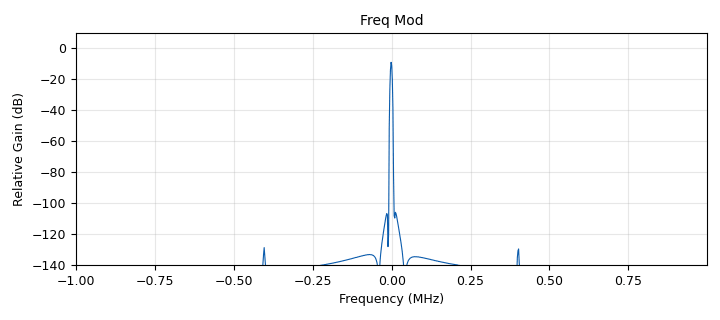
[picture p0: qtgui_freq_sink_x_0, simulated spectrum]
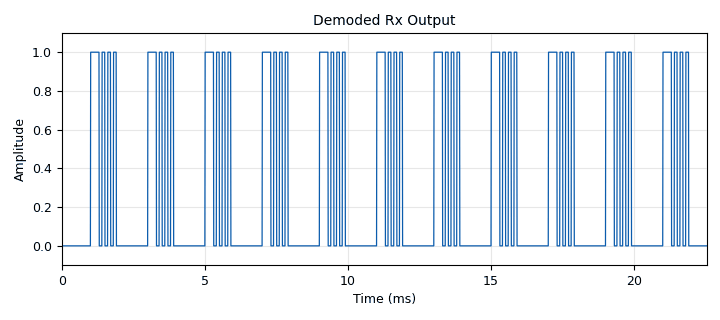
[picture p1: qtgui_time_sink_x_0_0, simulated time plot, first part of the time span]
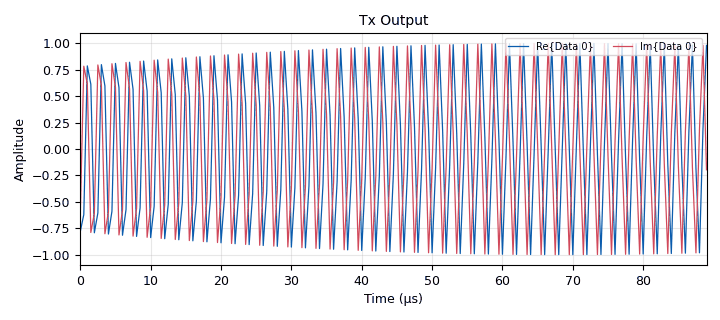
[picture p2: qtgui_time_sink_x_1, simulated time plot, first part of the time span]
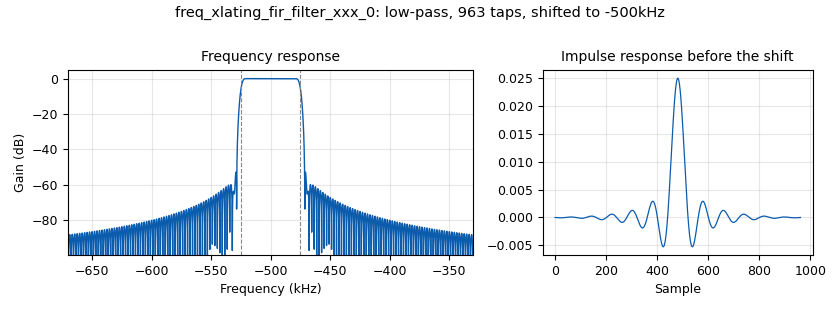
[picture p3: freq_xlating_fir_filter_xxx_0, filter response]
<?xml version='1.0' encoding='utf-8'?>
<?grc format='1' created='3.7.13'?>
<flow_graph>
<block>
<key>options</key>
<param><key>id</key><value>top_block</value></param>
<param><key>category</key><value>Custom</value></param>
<param><key>generate_options</key><value>qt_gui</value></param>
</block>
<block>
<key>variable</key>
<param><key>id</key><value>center_freq</value></param>
<param><key>value</key><value>901.5e6</value></param>
</block>
<block>
<key>variable</key>
<param><key>id</key><value>chan_width</value></param>
<param><key>value</key><value>50e3</value></param>
</block>
<block>
<key>variable_qtgui_entry</key>
<param><key>id</key><value>freq</value></param>
<param><key>value</key><value>901e6</value></param>
<param><key>type</key><value>real</value></param>
</block>
<block>
<key>variable</key>
<param><key>id</key><value>samp_rate</value></param>
<param><key>value</key><value>2e6</value></param>
</block>
<block>
<key>variable</key>
<param><key>id</key><value>sps</value></param>
<param><key>value</key><value>int(symbol_time*samp_rate)</value></param>
</block>
<block>
<key>variable</key>
<param><key>id</key><value>symbol_rate</value></param>
<param><key>value</key><value>1.0/symbol_time</value></param>
</block>
<block>
<key>variable</key>
<param><key>id</key><value>symbol_time</value></param>
<param><key>value</key><value>0.1e-3</value></param>
</block>
<block>
<key>variable</key>
<param><key>id</key><value>t_width</value></param>
<param><key>value</key><value>chan_width/10</value></param>
</block>
<block>
<key>variable</key>
<param><key>id</key><value>taps</value></param>
<param><key>value</key><value>firdes.low_pass(1, samp_rate, chan_width/2, t_width)</value></param>
</block>
<block>
<key>variable_qtgui_entry</key>
<param><key>id</key><value>threshold</value></param>
<param><key>value</key><value>0.5</value></param>
<param><key>type</key><value>real</value></param>
</block>
<block>
<key>variable</key>
<param><key>id</key><value>working_samp_rate</value></param>
<param><key>value</key><value>100e3</value></param>
</block>
<block>
<key>analog_frequency_modulator_fc</key>
<param><key>id</key><value>analog_frequency_modulator_fc_0</value></param>
<param><key>sensitivity</key><value>4.9e-3</value></param>
</block>
<block>
<key>analog_quadrature_demod_cf</key>
<param><key>id</key><value>analog_quadrature_demod_cf_0</value></param>
<param><key>gain</key><value>20e3</value></param>
</block>
<block>
<key>analog_sig_source_x</key>
<param><key>id</key><value>analog_sig_source_x_0</value></param>
<param><key>amp</key><value>1</value></param>
<param><key>freq</key><value>freq-center_freq</value></param>
<param><key>offset</key><value>0</value></param>
<param><key>type</key><value>complex</value></param>
<param><key>samp_rate</key><value>samp_rate</value></param>
<param><key>waveform</key><value>analog.GR_COS_WAVE</value></param>
</block>
<block>
<key>blocks_multiply_xx</key>
<param><key>id</key><value>blocks_multiply_xx_0</value></param>
<param><key>type</key><value>complex</value></param>
</block>
<block>
<key>blocks_repeat</key>
<param><key>id</key><value>blocks_repeat_0</value></param>
<param><key>interp</key><value>sps</value></param>
<param><key>type</key><value>float</value></param>
</block>
<block>
<key>blocks_throttle</key>
<param><key>id</key><value>blocks_throttle_0</value></param>
<param><key>samples_per_second</key><value>samp_rate</value></param>
<param><key>type</key><value>float</value></param>
</block>
<block>
<key>blocks_uchar_to_float</key>
<param><key>id</key><value>blocks_uchar_to_float_0</value></param>
</block>
<block>
<key>blocks_vector_source_x</key>
<param><key>id</key><value>blocks_vector_source_x_0</value></param>
<param><key>type</key><value>float</value></param>
<param><key>repeat</key><value>True</value></param>
<param><key>vector</key><value>(-1, 1, 1, 1, -1, 1, -1, 1, -1, 1, -1, -1, -1, -1, -1, -1, -1, -1, -1, -1)</value></param>
</block>
<block>
<key>digital_binary_slicer_fb</key>
<param><key>id</key><value>digital_binary_slicer_fb_0</value></param>
</block>
<block>
<key>freq_xlating_fir_filter_xxx</key>
<param><key>id</key><value>freq_xlating_fir_filter_xxx_0</value></param>
<param><key>center_freq</key><value>freq-center_freq</value></param>
<param><key>decim</key><value>int(samp_rate/working_samp_rate)</value></param>
<param><key>samp_rate</key><value>samp_rate</value></param>
<param><key>taps</key><value>taps</value></param>
<param><key>type</key><value>ccc</value></param>
</block>
<block>
<key>qtgui_freq_sink_x</key>
<param><key>id</key><value>qtgui_freq_sink_x_0</value></param>
<param><key>bw</key><value>samp_rate</value></param>
<param><key>fc</key><value>0</value></param>
<param><key>fftsize</key><value>1024</value></param>
<param><key>name</key><value>"Freq Mod"</value></param>
<param><key>showports</key><value>True</value></param>
<param><key>type</key><value>complex</value></param>
<param><key>wintype</key><value>firdes.WIN_BLACKMAN_hARRIS</value></param>
</block>
<block>
<key>qtgui_time_sink_x</key>
<param><key>id</key><value>qtgui_time_sink_x_0</value></param>
<param><key>_enabled</key><value>0</value></param>
<param><key>color1</key><value>"blue"</value></param>
<param><key>label1</key><value></value></param>
<param><key>name</key><value>"Oversampled digital"</value></param>
<param><key>size</key><value>1024*16</value></param>
<param><key>srate</key><value>samp_rate</value></param>
<param><key>tr_delay</key><value>100e-6</value></param>
<param><key>tr_level</key><value>0.5</value></param>
<param><key>tr_mode</key><value>qtgui.TRIG_MODE_AUTO</value></param>
<param><key>type</key><value>float</value></param>
<param><key>ymin</key><value>-0.1</value></param>
</block>
<block>
<key>qtgui_time_sink_x</key>
<param><key>id</key><value>qtgui_time_sink_x_0_0</value></param>
<param><key>ctrlpanel</key><value>True</value></param>
<param><key>color1</key><value>"blue"</value></param>
<param><key>label1</key><value></value></param>
<param><key>name</key><value>"Demoded Rx Output"</value></param>
<param><key>size</key><value>1024*8</value></param>
<param><key>srate</key><value>working_samp_rate</value></param>
<param><key>tr_delay</key><value>5e-3</value></param>
<param><key>tr_level</key><value>0.5</value></param>
<param><key>tr_mode</key><value>qtgui.TRIG_MODE_AUTO</value></param>
<param><key>type</key><value>float</value></param>
<param><key>ymax</key><value>1.1</value></param>
<param><key>ymin</key><value>-0.1</value></param>
</block>
<block>
<key>qtgui_time_sink_x</key>
<param><key>id</key><value>qtgui_time_sink_x_1</value></param>
<param><key>ctrlpanel</key><value>True</value></param>
<param><key>color1</key><value>"blue"</value></param>
<param><key>label1</key><value></value></param>
<param><key>color2</key><value>"red"</value></param>
<param><key>label2</key><value></value></param>
<param><key>name</key><value>"Tx Output"</value></param>
<param><key>size</key><value>1024 *16</value></param>
<param><key>srate</key><value>samp_rate</value></param>
<param><key>type</key><value>complex</value></param>
<param><key>ymax</key><value>1.1</value></param>
<param><key>ymin</key><value>-1.1</value></param>
</block>
<connection><source_block_id>analog_frequency_modulator_fc_0</source_block_id><sink_block_id>blocks_multiply_xx_0</sink_block_id><source_key>0</source_key><sink_key>0</sink_key></connection>
<connection><source_block_id>analog_frequency_modulator_fc_0</source_block_id><sink_block_id>qtgui_freq_sink_x_0</sink_block_id><source_key>0</source_key><sink_key>0</sink_key></connection>
<connection><source_block_id>analog_quadrature_demod_cf_0</source_block_id><sink_block_id>digital_binary_slicer_fb_0</sink_block_id><source_key>0</source_key><sink_key>0</sink_key></connection>
<connection><source_block_id>analog_sig_source_x_0</source_block_id><sink_block_id>blocks_multiply_xx_0</sink_block_id><source_key>0</source_key><sink_key>1</sink_key></connection>
<connection><source_block_id>blocks_multiply_xx_0</source_block_id><sink_block_id>freq_xlating_fir_filter_xxx_0</sink_block_id><source_key>0</source_key><sink_key>0</sink_key></connection>
<connection><source_block_id>blocks_multiply_xx_0</source_block_id><sink_block_id>qtgui_time_sink_x_1</sink_block_id><source_key>0</source_key><sink_key>0</sink_key></connection>
<connection><source_block_id>blocks_repeat_0</source_block_id><sink_block_id>analog_frequency_modulator_fc_0</sink_block_id><source_key>0</source_key><sink_key>0</sink_key></connection>
<connection><source_block_id>blocks_repeat_0</source_block_id><sink_block_id>qtgui_time_sink_x_0</sink_block_id><source_key>0</source_key><sink_key>0</sink_key></connection>
<connection><source_block_id>blocks_throttle_0</source_block_id><sink_block_id>blocks_repeat_0</sink_block_id><source_key>0</source_key><sink_key>0</sink_key></connection>
<connection><source_block_id>blocks_uchar_to_float_0</source_block_id><sink_block_id>qtgui_time_sink_x_0_0</sink_block_id><source_key>0</source_key><sink_key>0</sink_key></connection>
<connection><source_block_id>blocks_vector_source_x_0</source_block_id><sink_block_id>blocks_throttle_0</sink_block_id><source_key>0</source_key><sink_key>0</sink_key></connection>
<connection><source_block_id>digital_binary_slicer_fb_0</source_block_id><sink_block_id>blocks_uchar_to_float_0</sink_block_id><source_key>0</source_key><sink_key>0</sink_key></connection>
<connection><source_block_id>freq_xlating_fir_filter_xxx_0</source_block_id><sink_block_id>analog_quadrature_demod_cf_0</sink_block_id><source_key>0</source_key><sink_key>0</sink_key></connection>
</flow_graph>
